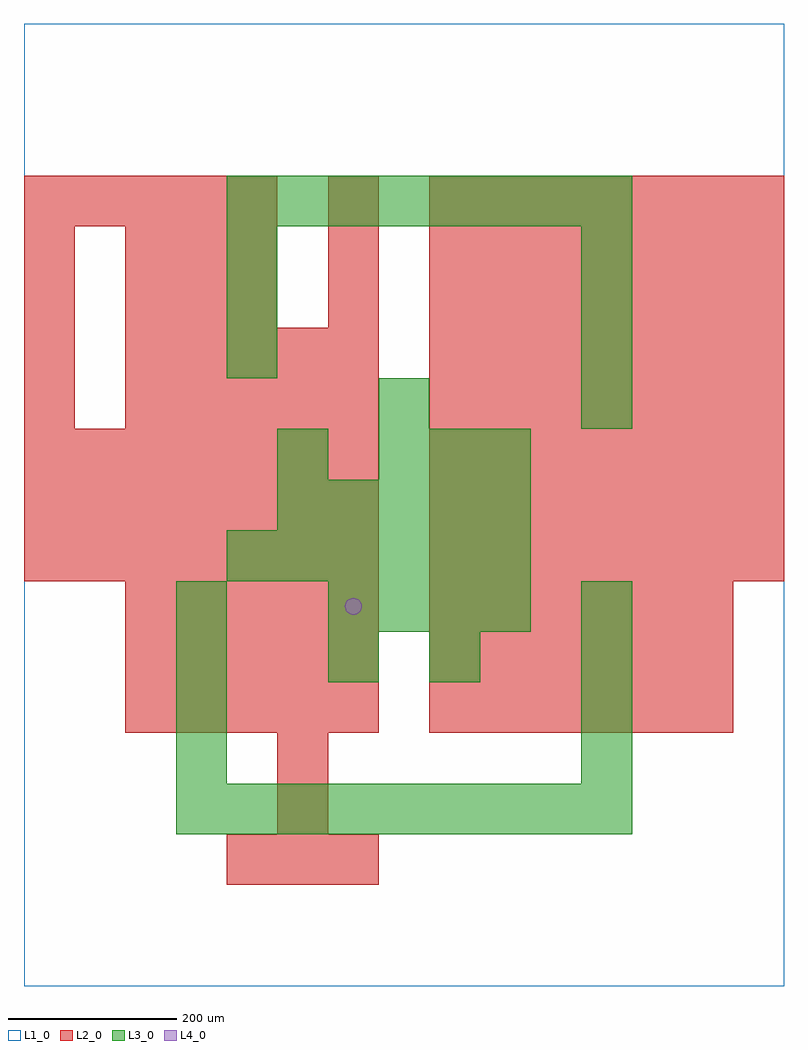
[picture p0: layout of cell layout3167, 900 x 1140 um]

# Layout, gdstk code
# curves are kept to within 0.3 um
import gdstk
lib = gdstk.Library(unit=1e-6, precision=1e-09)
def R(c, l, rs):  # rectangles x0, y0, x1, y1
    for r in rs: c.add(gdstk.rectangle(r[:2], r[2:], *l))
def A(c, l, x, y, w, h, nx, ny, dx, dy):  # array of equal rectangles
    R(c, l, [(x+i*dx, y+j*dy, x+i*dx+w, y+j*dy+h) for i in range(nx) for j in range(ny)])
def P(c, l, *ps):  # polygons
    for p in ps: c.add(gdstk.Polygon(p, *l))
L1_0 = (1, 0)
L2_0 = (2, 0)
L3_0 = (3, 0)
L4_0 = (4, 0)

layout3167 = lib.new_cell('layout3167')
R(layout3167, L1_0, [(0,0,900,1140)])
A(layout3167, L2_0, 240, 120, 60, 60, 3, 1, 60, 0)
A(layout3167, L2_0, 120, 300, 60, 60, 5, 3, 60, 60)
A(layout3167, L2_0, 480, 300, 60, 60, 6, 3, 60, 60)
A(layout3167, L2_0, 0, 480, 60, 60, 7, 3, 60, 60)
A(layout3167, L2_0, 480, 480, 60, 60, 7, 8, 60, 60)
A(layout3167, L2_0, 0, 660, 60, 60, 1, 4, 0, 60)
A(layout3167, L2_0, 120, 660, 60, 60, 5, 2, 60, 60)
A(layout3167, L2_0, 120, 780, 60, 60, 3, 2, 60, 60)
A(layout3167, L2_0, 360, 780, 60, 60, 1, 3, 0, 60)
A(layout3167, L2_0, 0, 900, 60, 60, 5, 1, 60, 0)
R(layout3167, L2_0, [(300,180,360,240), (300,240,360,300)])
A(layout3167, L3_0, 180, 180, 60, 60, 9, 1, 60, 0)
A(layout3167, L3_0, 180, 240, 60, 60, 1, 4, 0, 60)
A(layout3167, L3_0, 660, 240, 60, 60, 1, 4, 0, 60)
A(layout3167, L3_0, 360, 420, 60, 60, 4, 1, 60, 0)
A(layout3167, L3_0, 240, 480, 60, 60, 6, 1, 60, 0)
A(layout3167, L3_0, 300, 540, 60, 60, 5, 1, 60, 0)
A(layout3167, L3_0, 420, 600, 60, 60, 3, 1, 60, 0)
A(layout3167, L3_0, 660, 660, 60, 60, 1, 4, 0, 60)
A(layout3167, L3_0, 240, 720, 60, 60, 1, 3, 0, 60)
A(layout3167, L3_0, 240, 900, 60, 60, 8, 1, 60, 0)
R(layout3167, L3_0, [(360,360,420,420), (480,360,540,420), (300,600,360,660), (420,660,480,720)])
P(layout3167, L4_0, [(400,450),(399.239,453.827),(397.071,457.071),(393.827,459.239),(390,460),(386.173,459.239),(382.929,457.071),(380.761,453.827),(380,450),(380.761,446.173),(382.929,442.929),(386.173,440.761),(390,440),(393.827,440.761),(397.071,442.929),(399.239,446.173)])

lib.write_gds('layout3167.gds')
